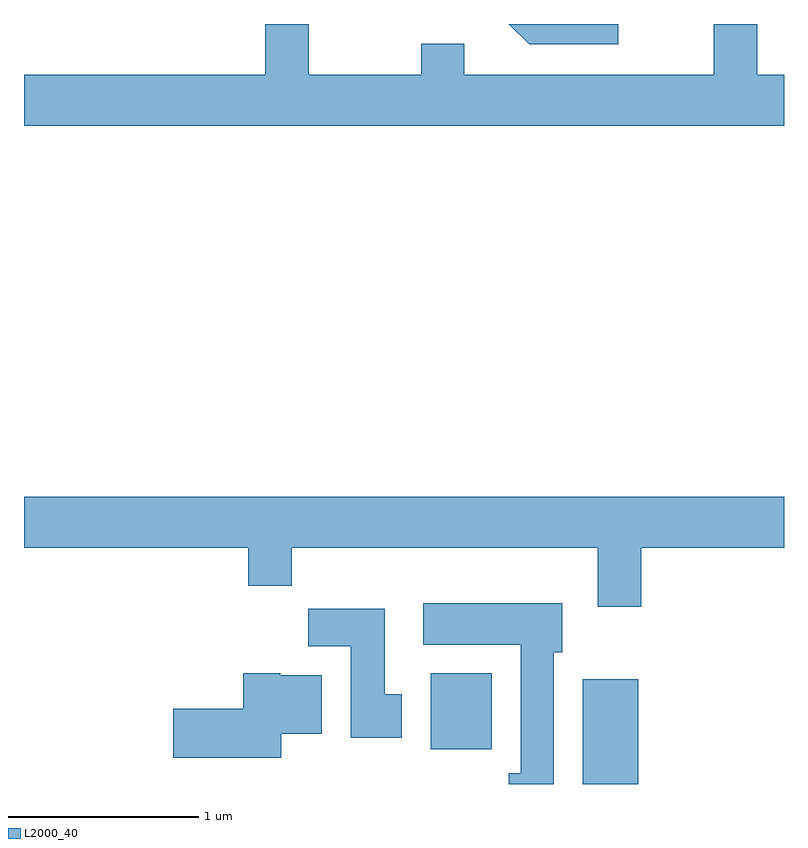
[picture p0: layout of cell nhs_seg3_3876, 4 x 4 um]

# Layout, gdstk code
import gdstk
lib = gdstk.Library(unit=1e-6, precision=1e-09)
def R(c, l, rs):  # rectangles x0, y0, x1, y1
    for r in rs: c.add(gdstk.rectangle(r[:2], r[2:], *l))
def P(c, l, *ps):  # polygons
    for p in ps: c.add(gdstk.Polygon(p, *l))
L2000_40 = (2000, 40)

nhs_seg3_3876 = lib.new_cell('nhs_seg3_3876')
R(nhs_seg3_3876, L2000_40, [(302.551,1115.892,302.844,1116.444), (301.751,1116.076,302.074,1116.474)])
P(nhs_seg3_3876, L2000_40, [(303.611,1119.624),(303.469,1119.624),(303.469,1119.892),(303.241,1119.892),(303.241,1119.624),(301.929,1119.624),(301.929,1119.789),(301.701,1119.789),(301.701,1119.624),(301.109,1119.624),(301.109,1119.892),(300.881,1119.892),(300.881,1119.624),(299.611,1119.624),(299.611,1119.356),(303.611,1119.356)],
  [(302.738,1119.892),(302.163,1119.892),(302.269,1119.786),(302.738,1119.786)],
  [(302.859,1117.136),(303.611,1117.136),(303.611,1117.404),(299.611,1117.404),(299.611,1117.136),(300.791,1117.136),(300.791,1116.936),(301.019,1116.936),(301.019,1117.136),(302.631,1117.136),(302.631,1116.826),(302.859,1116.826)],
  [(302.399,1116.586),(302.444,1116.586),(302.444,1116.844),(301.711,1116.844),(301.711,1116.626),(302.226,1116.626),(302.226,1115.949),(302.163,1115.949),(302.163,1115.892),(302.399,1115.892)],
  [(301.599,1116.364),(301.509,1116.364),(301.509,1116.814),(301.106,1116.814),(301.106,1116.616),(301.331,1116.616),(301.331,1116.136),(301.599,1116.136)],
  [(300.964,1116.156),(301.179,1116.156),(301.179,1116.464),(300.96,1116.464),(300.96,1116.474),(300.766,1116.474),(300.766,1116.289),(300.396,1116.289),(300.396,1116.031),(300.964,1116.031)])

lib.write_gds('nhs_seg3_3876.gds')
